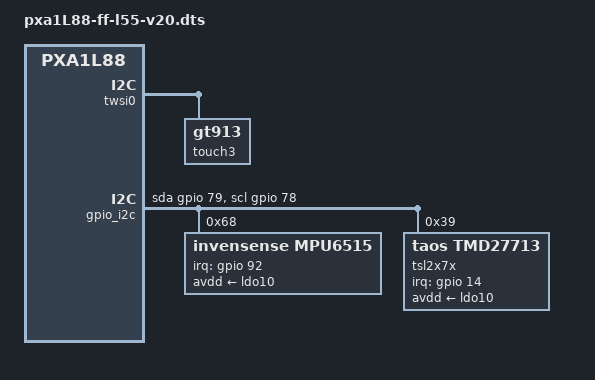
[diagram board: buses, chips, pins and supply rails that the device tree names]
#include "pxa1L88-ff-l55-v10.dts"
/ {
	compatible = "mrvl,pxa1L88-ff-l55-v20", "mrvl,pxa1L88";
	aliases {
			i2c3 = &gpio_i2c;
		};

	soc {
		apb@d4000000 {
			pmx: pinmux@d401e000 {
				/* MFP_DEFAULT */
				mfp_pins_group_7: mfp_pins_group_7 {
					pinctrl-single,pins = <
						GPIO124 AF0
						GPIO1 AF0
						GPIO3 AF0
						GPIO5 AF0
						GPIO6 AF0
						GPIO10 AF0
						GPIO11 AF0
						GPIO12 AF0
						GPIO13 AF0
						GPIO19 AF0
						GPIO20 AF0
						GPIO30 AF0
						GPIO31 AF0
						GPIO32 AF0
						GPIO33 AF0
						GPIO34 AF0
						GPIO35 AF0
						GPIO49 AF0
						GPIO50 AF0
						GPIO51 AF1
						GPIO52 AF1
						GPIO73 AF0
						GPIO74 AF0
						GPIO75 AF0
						GPIO76 AF0
						GPIO77 AF1
					>;
					MFP_DEFAULT;
				};

				i2c_gpio: i2c_gpio {
					pinctrl-single,pins = <
						GPIO78 AF0
						GPIO79 AF0
					>;
					DS_FAST;PULL_UP;EDGE_NONE;LPM_NONE;
				};
			};

			twsi0: i2c@d4011000 {
				touch3: gt913@720p {
				/* cfg-group start from 0, so the value 2 means the third group */
					goodix,cfg-group = <2>;
				};
				plsensor: tsl2x7x@39 {
					status = "disabled";
				};
			};

			twsi1: i2c@d4010800 {
				sensor5: mpu6500@68 {
					status = "disabled";
				};
			};
		};
	};

	gpio_i2c:i2c@3 {
		compatible = "i2c-gpio";
		pinctrl-names = "default";
		pinctrl-0 = <&i2c_gpio>;
		gpios = <
			&gpio 79 0	/* sda*/
			&gpio 78 0	/* scl */
		>;
		i2c-gpio,delay-us = <1>;
		#address-cells = <1>;
		#size-cells = <0>;
		status = "okay";

		mpu6515@68 {
			compatible = "invensense,mpu6515";
			reg = <0x68>;
			interrupt-parent = <&gpio>;
			interrupts = <92 0x2>;
			inven,irq-gpios = <&gpio 92 0x00>;
			avdd-supply = <&ldo10>;
			axis_map_x = <0>;
			negate_x = <1>;
			axis_map_y = <1>;
			negate_y = <0>;
			axis_map_z = <2>;
			negate_z = <1>;
			inven,secondary_axis_map_x = <0>;
			inven,secondary_negate_x = <0>;
			inven,secondary_axis_map_y = <1>;
			inven,secondary_negate_y = <1>;
			inven,secondary_axis_map_z = <2>;
			inven,secondary_negate_z = <1>;
			inven,secondary_type = "compass";
			inven,secondary_name = "ak09911";
			inven,secondary_reg = <0xc>;
			status = "ok";
		};

		tsl2x7x@39 {
			compatible = "taos,tmd27713";
			reg = <0x39>;
			interrupt-parent = <&gpio>;
			interrupts = <14 0x1>;
			irq-gpios = <&gpio 14 0>;
			avdd-supply = <&ldo10>;
		};
	};
	gps: mmp-gps {
		vgps-supply = <&ldo13>;
	};

	led-rgb {
		status = "disabled";
	};
};

